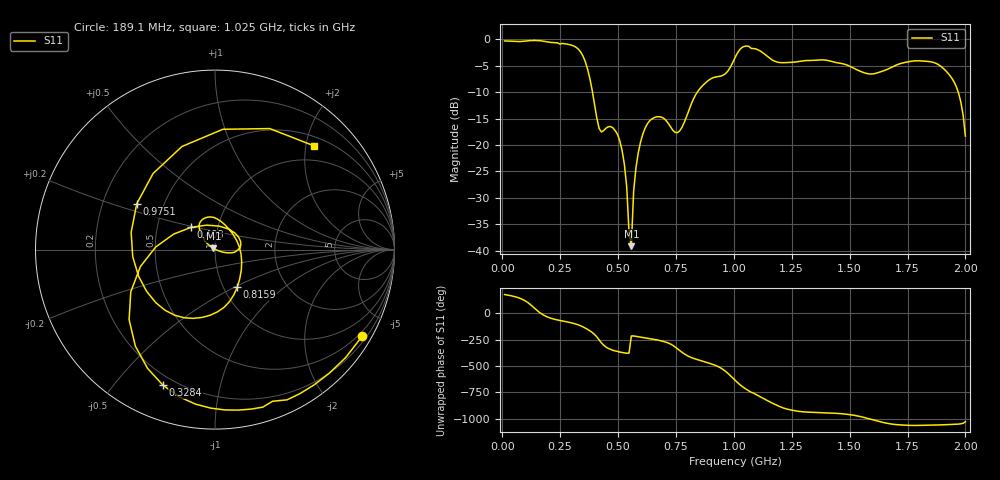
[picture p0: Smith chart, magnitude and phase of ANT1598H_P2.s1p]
!Created with skrf (http://scikit-rf.org).
# Hz S RI R 50.0
!freq ReS11 ImS11
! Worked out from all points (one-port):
!   201 points, 10 MHz to 2 GHz, reference 50 ohm
!   lowest |S11| = -39.2 dB at 557.2 MHz (marker M1), VSWR 1.02, Z = 49.1 + j0.632 ohm
!   |S11| at or under -10 dB: 389.6 MHz to 842 MHz (452.4 MHz wide, 73.5 % of centre); 1.969 GHz to end of sweep
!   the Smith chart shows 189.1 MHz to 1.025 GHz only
!   S11 on the Smith chart (normalised r, x): 189.1 MHz: 0.36, -3.65; 328.4 MHz: 0.15, -0.68; 408 MHz: 0.75, +0.19; 816 MHz: 1.16, -0.52; 975.1 MHz: 0.35, +0.24; 1.025 GHz: 0.67, +2.15
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1e7  -0.9659 0.0662
7.965e7  -0.7057 0.6453
1.1945e8  0.0912 0.9714
1.493e8  0.8686 0.4476
1.891e8  0.8208 -0.4818
2.5875e8  0.2665 -0.8776
3.284e8  -0.2897 -0.7558
3.682e8  -0.4693 -0.2357
4.08e8  -0.132 0.1243
5.075e8  0.1083 -0.0152
5.274e8  0.0629 -0.0175
5.5725e8  -0.00893 0.00643
5.7715e8  -0.0471 0.0382
6.1695e8  -0.087 0.1158
7.5625e8  0.1199 0.0525
8.1595e8  0.1239 -0.21
9.1545e8  -0.2784 -0.338
9.7515e8  -0.4359 0.2554
1.005e9  0.0437 0.6703
1.0249e9  0.55 0.5787
1.05475e9  0.8659 -0.0229
1.11445e9  0.2629 -0.7307
1.17415e9  -0.4725 -0.4089
1.25375e9  -0.5759 0.1947
1.5025e9  -0.2782 0.4805
1.75125e9  0.5782 0.2048
1.93035e9  0.4129 0.2111
2e9  0.0729 0.0973
